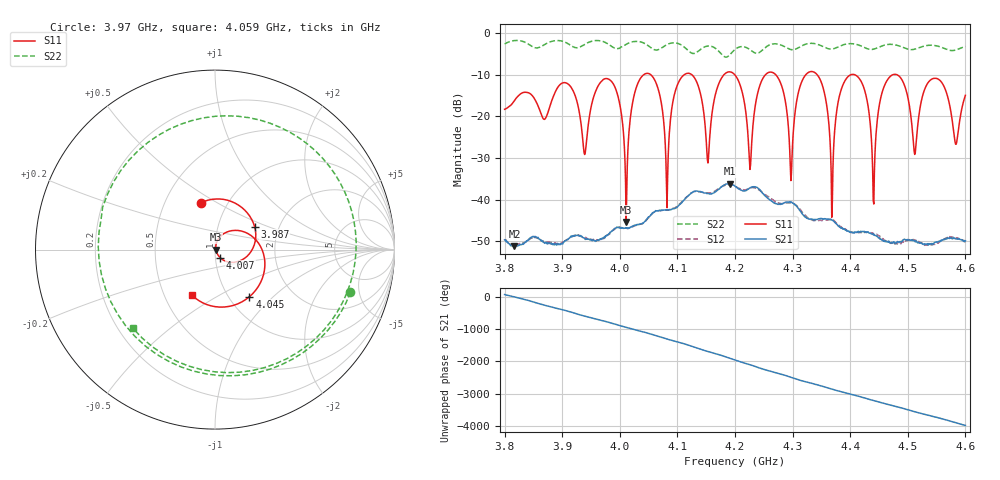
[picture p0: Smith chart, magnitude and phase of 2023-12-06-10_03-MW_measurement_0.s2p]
!Created with skrf (http://scikit-rf.org).
# Hz S RI R 50.0
!freq ReS11 ImS11 ReS21 ImS21 ReS12 ImS12 ReS22 ImS22
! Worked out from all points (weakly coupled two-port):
!   801 points, 3.8 GHz to 4.6 GHz, reference 50 ohm
!   highest |S21| = -36.15 dB at 4.191 GHz (marker M1); lowest = -51.1 dB at 3.817 GHz (marker M2)
!   lowest |S11| = -45.3 dB at 4.011 GHz (marker M3), VSWR 1.01, Z = 50.5 - j0.102 ohm
!   |S11| at or under -10 dB: start of sweep to 4.042 GHz; 4.407 GHz to 4.475 GHz (67.31 MHz wide, 1.52 % of centre); 4.481 GHz to end of sweep (the widest 3 of 8)
!   |S22| runs from -5.8 to -1.8 dB; largest |S21 - S12| = 0.0016
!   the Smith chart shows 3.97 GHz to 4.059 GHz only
!   S11 on the Smith chart (normalised r, x): 3.97 GHz: 0.76, +0.42; 3.987 GHz: 1.50, +0.41; 4.007 GHz: 1.06, -0.10; 4.045 GHz: 1.24, -0.73; 4.059 GHz: 0.69, -0.38
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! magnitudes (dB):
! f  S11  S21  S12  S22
! 3.8 GHz  -18.3  -49.6  -49.6  -2.6
! 3.817 GHz  -16.2  -51.1  -50.8  -1.8
! 3.934 GHz  -23.3  -48.8  -48.8  -3.2
! 3.97 GHz  -11.4  -49.3  -49.3  -2.0
! 3.987 GHz  -11.9  -47.4  -47.5  -3.3
! 4.007 GHz  -25.2  -46.9  -46.9  -3.0
! 4.011 GHz  -45.3  -46.8  -46.8  -2.7
! 4.045 GHz  -9.8  -45.0  -45.1  -2.7
! 4.059 GHz  -10.9  -43.0  -43.0  -4.0
! 4.067 GHz  -13.6  -42.6  -42.7  -4.0
! 4.082 GHz  -41.9  -42.4  -42.5  -2.8
! 4.106 GHz  -10.9  -40.9  -40.8  -2.8
! 4.153 GHz  -31.2  -38.5  -38.3  -3.2
! 4.191 GHz  -9.3  -36.2  -36.4  -5.2
! 4.2 GHz  -10.1  -36.7  -36.7  -4.0
! 4.297 GHz  -35.4  -40.6  -40.7  -4.0
! 4.334 GHz  -9.3  -44.7  -44.8  -2.5
! 4.368 GHz  -44.2  -44.9  -44.8  -3.9
! 4.393 GHz  -11.0  -47.3  -47.2  -2.7
! 4.441 GHz  -41.0  -48.3  -48.3  -3.9
! 4.467 GHz  -10.8  -49.9  -50.1  -2.7
! 4.6 GHz  -15.0  -49.8  -50.0  -3.2
